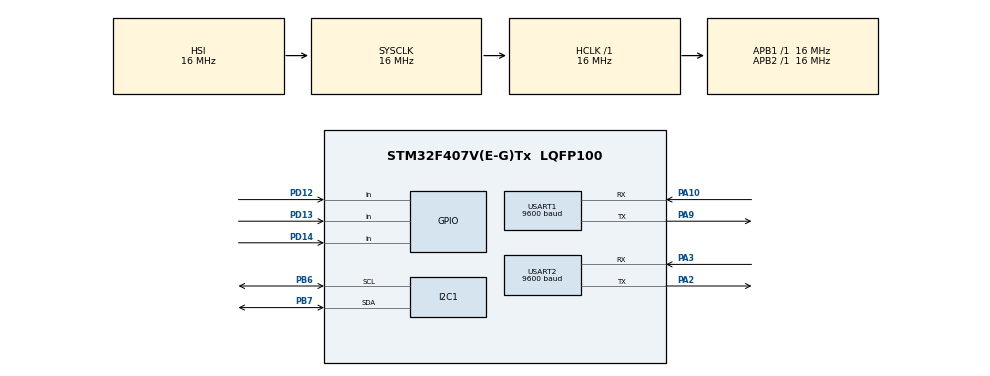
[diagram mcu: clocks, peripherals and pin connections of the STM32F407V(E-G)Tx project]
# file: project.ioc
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Mcu.Family=STM32F4
Mcu.Name=STM32F407V(E-G)Tx
Mcu.Package=LQFP100
NVIC.PriorityGroup=NVIC_PRIORITYGROUP_4
PA10.Mode=Asynchronous
PA10.Signal=USART1_RX
PA2.Mode=Asynchronous
PA2.Signal=USART2_TX
PA3.Mode=Asynchronous
PA3.Signal=USART2_RX
PA9.Mode=Asynchronous
PA9.Signal=USART1_TX
PB6.Mode=I2C
PB6.Signal=I2C1_SCL
PB7.Mode=I2C
PB7.Signal=I2C1_SDA
PD12.Signal=GPIO_Input
PD13.Signal=GPIO_Input
PD14.Signal=GPIO_Input
ProjectManager.HeapSize=0x200
ProjectManager.StackSize=0x400
ProjectManager.TargetToolchain=STM32CubeIDE
RCC.AHBFreq_Value=16000000
RCC.APB1Freq_Value=16000000
RCC.APB2Freq_Value=16000000
RCC.CortexFreq_Value=16000000
RCC.HSE_VALUE=25000000
RCC.HSI_VALUE=16000000
RCC.LSE_VALUE=32768
RCC.SYSCLKFreq_VALUE=16000000
RCC.VCOOutputFreq_Value=192000000
USART1.BaudRate=9600
USART1.VirtualMode=VM_ASYNC
USART2.BaudRate=9600
USART2.VirtualMode=VM_ASYNC
board=custom

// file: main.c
/* USER CODE BEGIN Header */
/**
  ******************************************************************************
  * @file           : main.c
  * @brief          : Main program body
  ******************************************************************************
  * @attention
  *
  * Copyright (c) 2025 STMicroelectronics.
  * All rights reserved.
  *
  * This software is licensed under terms that can be found in the LICENSE file
  * in the root directory of this software component.
  * If no LICENSE file comes with this software, it is provided AS-IS.
  *
  ******************************************************************************
  */
/* USER CODE END Header */
#include "main.h"

/* USER CODE BEGIN Includes */
#include "oled.h"
#include "string.h"
#include "stdio.h"
/* USER CODE END Includes */

/* USER CODE BEGIN PTD */
#define OLED_I2C_ADDR 0x78
/* USER CODE END PTD */

/* USER CODE BEGIN PD */
#define max_ids 7
#define max_char 32
/* USER CODE END PD */

I2C_HandleTypeDef hi2c1;

UART_HandleTypeDef huart1;
UART_HandleTypeDef huart2;

/* USER CODE BEGIN PV */
char outgoing[80];
char buffer[20];
char names[max_ids][max_char];
int val;
int val2;
int count = 0;
int i=0;
int j;
int a;
int b;
int c;
int z = 0;
/* USER CODE END PV */

void SystemClock_Config(void);
static void MX_GPIO_Init(void);
static void MX_I2C1_Init(void);
static void MX_USART2_UART_Init(void);
static void MX_USART1_UART_Init(void);

int main(void)
{

  /* MCU Configuration--------------------------------------------------------*/

  /* Reset of all peripherals, Initializes the Flash interface and the Systick. */
  HAL_Init();

  /* Configure the system clock */
  SystemClock_Config();

  /* Initialize all configured peripherals */
  MX_GPIO_Init();
  MX_I2C1_Init();
  MX_USART2_UART_Init();
  MX_USART1_UART_Init();
  /* USER CODE BEGIN 2 */
  OLED_Init();
  /* USER CODE END 2 */

  /* Infinite loop */
  /* USER CODE BEGIN WHILE */
  while (1)
  {
    // --- SSID Receive and Store Phase ---
    OLED_Clear();
    i = 0;
    count = 0;
    memset(buffer, 0, sizeof(buffer));
    memset(outgoing, 0, sizeof(outgoing));

    while (count < max_ids)
    {
        HAL_UART_Receive(&huart2, (uint8_t *)outgoing, sizeof(outgoing) - 1, 1000);
        outgoing[sizeof(outgoing) - 1] = '\0'; // Ensure null-termination

        if (strlen(outgoing) > 0 && strcmp(outgoing, buffer) != 0)
        {
            OLED_SetCursor(i, 10);
            OLED_PrintString(outgoing);

            strncpy(names[count], outgoing, max_char - 1);
            names[count][max_char - 1] = '\0';  // Ensure null-termination

            strcpy(buffer, outgoing);
            count++;
            i++;
        }

        memset(outgoing, 0, sizeof(outgoing));

        if (i >= max_ids)
            break;
    }

    // --- Selection Phase ---
    z = 0;
reconnect:
	OLED_Clear();
	for(i=0;i<=6;i++)
	{
		OLED_SetCursor(i, 10);
		OLED_PrintString(names[i]);
	}

    while (1)
    {
        a = HAL_GPIO_ReadPin(GPIOD, GPIO_PIN_12);  // Down
        c = HAL_GPIO_ReadPin(GPIOD, GPIO_PIN_14);  // Up

        if (a == 1)
        {
            HAL_Delay(200);
            z++;
            if (z >= count) z = count - 1;
        }
        if (c == 1)
        {
            HAL_Delay(200);
            z--;
            if (z < 0) z = 0;
        }

        // Clear cursor indicators
        for (int k = 0; k < count; k++) {
            OLED_RangeClear(k, 2);
        }

        OLED_SetCursor(z, 2);
        OLED_PrintChar('>');

        b = HAL_GPIO_ReadPin(GPIOD, GPIO_PIN_13);  // Select
        if (b == 1)
        {
            HAL_Delay(200);
            OLED_Clear();
            OLED_SetCursor(0, 1);
            OLED_PrintString(names[z]);

            // Transmit selected SSID to ESP32
            HAL_UART_Transmit(&huart2, (uint8_t *)names[z], strlen(names[z]), 1000);
          //  HAL_UART_Transmit(&huart1, (uint8_t *)names[z], strlen(names[z]), 1000);

            break;
        }
    }

    // --- Confirmation Phase ---
    while (1)
    {
        memset(outgoing, 0, sizeof(outgoing));
        HAL_UART_Receive(&huart2, (uint8_t *)outgoing, sizeof(outgoing) - 1, 3000);
        HAL_UART_Transmit(&huart1, (uint8_t *)names[z], strlen(names[z]), 1000);
		if(strlen(outgoing)>0)
		{

			OLED_Clear();
			OLED_SetCursor(0, 0);
			OLED_PrintString("Connected!");
			HAL_Delay(2000);
			break;
		}

//        if (strcmp(outgoing, "Connected") == 0)
//        {
//            memset(outgoing, 0, sizeof(outgoing));
//            HAL_UART_Receive(&huart2, (uint8_t *)outgoing, sizeof(outgoing) - 1, 1000);
//            HAL_UART_Transmit(&huart1, (uint8_t *)outgoing, strlen((char*)outgoing), 1000);
//
//            OLED_Clear();
//            OLED_SetCursor(5, 0);
//            OLED_PrintString("Connected!");
//
//
//            break;
//        }
    }
	while(1)
	{
		OLED_SetCursor(2, 0);
		OLED_PrintString("choose different network");
		OLED_SetCursor(3, 10);
		OLED_PrintString("yes");
		OLED_SetCursor(4, 10);
		OLED_PrintString("NO");
		b =  HAL_GPIO_ReadPin(GPIOD, GPIO_PIN_13);
		if(b==1)
				{
					HAL_Delay(500);
					goto reconnect;
				}
	}

    HAL_Delay(2000);
    /* USER CODE END WHILE */

  }
}

void SystemClock_Config(void)
{
  RCC_OscInitTypeDef RCC_OscInitStruct = {0};
  RCC_ClkInitTypeDef RCC_ClkInitStruct = {0};

  /** Configure the main internal regulator output voltage
  */
  __HAL_RCC_PWR_CLK_ENABLE();
  __HAL_PWR_VOLTAGESCALING_CONFIG(PWR_REGULATOR_VOLTAGE_SCALE1);

  /** Initializes the RCC Oscillators according to the specified parameters
  * in the RCC_OscInitTypeDef structure.
  */
  RCC_OscInitStruct.OscillatorType = RCC_OSCILLATORTYPE_HSI;
  RCC_OscInitStruct.HSIState = RCC_HSI_ON;
  RCC_OscInitStruct.HSICalibrationValue = RCC_HSICALIBRATION_DEFAULT;
  RCC_OscInitStruct.PLL.PLLState = RCC_PLL_NONE;
  if (HAL_RCC_OscConfig(&RCC_OscInitStruct) != HAL_OK)
  {
    Error_Handler();
  }

  /** Initializes the CPU, AHB and APB buses clocks
  */
  RCC_ClkInitStruct.ClockType = RCC_CLOCKTYPE_HCLK|RCC_CLOCKTYPE_SYSCLK
                              |RCC_CLOCKTYPE_PCLK1|RCC_CLOCKTYPE_PCLK2;
  RCC_ClkInitStruct.SYSCLKSource = RCC_SYSCLKSOURCE_HSI;
  RCC_ClkInitStruct.AHBCLKDivider = RCC_SYSCLK_DIV1;
  RCC_ClkInitStruct.APB1CLKDivider = RCC_HCLK_DIV1;
  RCC_ClkInitStruct.APB2CLKDivider = RCC_HCLK_DIV1;

  if (HAL_RCC_ClockConfig(&RCC_ClkInitStruct, FLASH_LATENCY_0) != HAL_OK)
  {
    Error_Handler();
  }
}

static void MX_I2C1_Init(void)
{

  hi2c1.Instance = I2C1;
  hi2c1.Init.ClockSpeed = 100000;
  hi2c1.Init.DutyCycle = I2C_DUTYCYCLE_2;
  hi2c1.Init.OwnAddress1 = 0;
  hi2c1.Init.AddressingMode = I2C_ADDRESSINGMODE_7BIT;
  hi2c1.Init.DualAddressMode = I2C_DUALADDRESS_DISABLE;
  hi2c1.Init.OwnAddress2 = 0;
  hi2c1.Init.GeneralCallMode = I2C_GENERALCALL_DISABLE;
  hi2c1.Init.NoStretchMode = I2C_NOSTRETCH_DISABLE;
  if (HAL_I2C_Init(&hi2c1) != HAL_OK)
  {
    Error_Handler();
  }

}

static void MX_USART1_UART_Init(void)
{

  huart1.Instance = USART1;
  huart1.Init.BaudRate = 9600;
  huart1.Init.WordLength = UART_WORDLENGTH_8B;
  huart1.Init.StopBits = UART_STOPBITS_1;
  huart1.Init.Parity = UART_PARITY_NONE;
  huart1.Init.Mode = UART_MODE_TX_RX;
  huart1.Init.HwFlowCtl = UART_HWCONTROL_NONE;
  huart1.Init.OverSampling = UART_OVERSAMPLING_16;
  if (HAL_UART_Init(&huart1) != HAL_OK)
  {
    Error_Handler();
  }

}

static void MX_USART2_UART_Init(void)
{

  huart2.Instance = USART2;
  huart2.Init.BaudRate = 9600;
  huart2.Init.WordLength = UART_WORDLENGTH_8B;
  huart2.Init.StopBits = UART_STOPBITS_1;
  huart2.Init.Parity = UART_PARITY_NONE;
  huart2.Init.Mode = UART_MODE_TX_RX;
  huart2.Init.HwFlowCtl = UART_HWCONTROL_NONE;
  huart2.Init.OverSampling = UART_OVERSAMPLING_16;
  if (HAL_UART_Init(&huart2) != HAL_OK)
  {
    Error_Handler();
  }

}

static void MX_GPIO_Init(void)
{
  GPIO_InitTypeDef GPIO_InitStruct = {0};

  /* GPIO Ports Clock Enable */
  __HAL_RCC_GPIOA_CLK_ENABLE();
  __HAL_RCC_GPIOD_CLK_ENABLE();
  __HAL_RCC_GPIOB_CLK_ENABLE();

  /*Configure GPIO pins : PD12 PD13 PD14 */
  GPIO_InitStruct.Pin = GPIO_PIN_12|GPIO_PIN_13|GPIO_PIN_14;
  GPIO_InitStruct.Mode = GPIO_MODE_INPUT;
  GPIO_InitStruct.Pull = GPIO_NOPULL;
  HAL_GPIO_Init(GPIOD, &GPIO_InitStruct);

}

/* USER CODE BEGIN 4 */
void OLED_SendCommand(uint8_t cmd) {
    uint8_t data[2] = {0x00, cmd};
    HAL_I2C_Master_Transmit(&hi2c1, OLED_I2C_ADDR, data, 2, HAL_MAX_DELAY);
}

void OLED_SendData(uint8_t data) {
    uint8_t buf[2] = {0x40, data};
    HAL_I2C_Master_Transmit(&hi2c1, OLED_I2C_ADDR, buf, 2, HAL_MAX_DELAY);
}
/* USER CODE END 4 */

void Error_Handler(void)
{
  __disable_irq();
  while (1)
  {
  }
}
